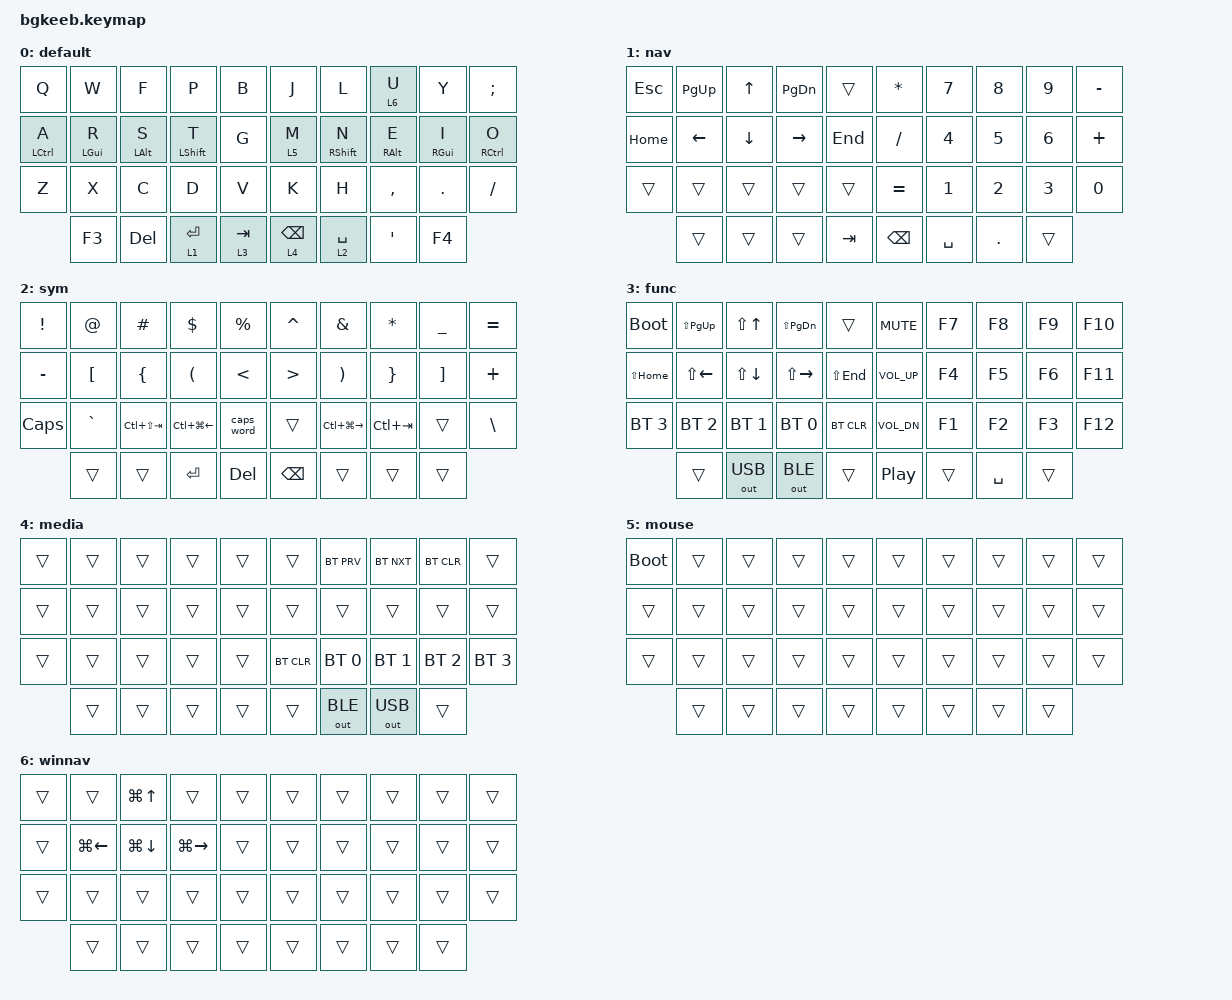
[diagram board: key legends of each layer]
// used swweeep default keymap

#include <behaviors.dtsi>
#include <dt-bindings/zmk/bt.h>
#include <dt-bindings/zmk/keys.h>
#include <dt-bindings/zmk/outputs.h>

/ {
    keymap {
        compatible = "zmk,keymap";

        default {
            bindings = <
&kp Q          &kp W         &kp F         &kp P           &kp B        &kp J         &kp L           &lt 6 U       &kp Y         &kp SEMI
&mt LCTRL A    &mt LGUI R    &mt LALT S    &mt LSHIFT T    &kp G        &lt 5 M       &mt RSHIFT N    &mt RALT E    &mt RGUI I    &mt RCTRL O
&kp Z          &kp X         &kp C         &kp D           &kp V        &kp K         &kp H           &kp COMMA     &kp DOT       &kp FSLH
               &kp F3        &kp DEL       &lt 1 RET       &lt 3 TAB    &lt 4 BSPC    &lt 2 SPACE     &kp SQT       &kp F4
            >;
        };

        nav {
            bindings = <
&kp ESC     &kp PG_UP    &kp UP      &kp PG_DN    &trans     &kp ASTRK    &kp N7       &kp N8     &kp N9    &kp MINUS
&kp HOME    &kp LEFT     &kp DOWN    &kp RIGHT    &kp END    &kp FSLH     &kp N4       &kp N5     &kp N6    &kp PLUS
&trans      &trans       &trans      &trans       &trans     &kp EQUAL    &kp N1       &kp N2     &kp N3    &kp N0
            &trans       &trans      &trans       &kp TAB    &kp BSPC     &kp SPACE    &kp DOT    &trans
            >;
        };

        sym {
            bindings = <
&kp EXCL     &kp AT       &kp HASH           &kp DLLR            &kp PRCNT     &kp CARET    &kp AMPS             &kp ASTRK      &kp UNDER    &kp EQUAL
&kp MINUS    &kp LBKT     &kp LBRC           &kp LPAR            &kp LT        &kp GT       &kp RPAR             &kp RBRC       &kp RBKT     &kp PLUS
&kp CAPS     &kp GRAVE    &kp LC(LS(TAB))    &kp LC(LG(LEFT))    &caps_word    &trans       &kp LC(LG(RIGHT))    &kp LC(TAB)    &trans       &kp BSLH
             &trans       &trans             &kp RET             &kp DEL       &kp BSPC     &trans               &trans         &trans
            >;
        };

        func {
            bindings = <
&bootloader     &kp LS(PG_UP)    &kp LS(UP)      &kp LS(PG_DN)    &trans         &kp C_MUTE          &kp F7    &kp F8       &kp F9    &kp F10
&kp LS(HOME)    &kp LS(LEFT)     &kp LS(DOWN)    &kp LS(RIGHT)    &kp LS(END)    &kp K_VOL_UP        &kp F4    &kp F5       &kp F6    &kp F11
&bt BT_SEL 3    &bt BT_SEL 2     &bt BT_SEL 1    &bt BT_SEL 0     &bt BT_CLR     &kp K_VOL_DN        &kp F1    &kp F2       &kp F3    &kp F12
                &trans           &out OUT_USB    &out OUT_BLE     &trans         &kp C_PLAY_PAUSE    &trans    &kp SPACE    &trans
            >;
        };

        media {
            bindings = <
&trans    &trans    &trans    &trans    &trans    &trans        &bt BT_PRV      &bt BT_NXT      &bt BT_CLR      &trans
&trans    &trans    &trans    &trans    &trans    &trans        &trans          &trans          &trans          &trans
&trans    &trans    &trans    &trans    &trans    &bt BT_CLR    &bt BT_SEL 0    &bt BT_SEL 1    &bt BT_SEL 2    &bt BT_SEL 3
          &trans    &trans    &trans    &trans    &trans        &out OUT_BLE    &out OUT_USB    &trans
            >;
        };

        mouse {
            bindings = <
&bootloader    &trans    &trans    &trans    &trans    &trans    &trans    &trans    &trans    &trans
&trans         &trans    &trans    &trans    &trans    &trans    &trans    &trans    &trans    &trans
&trans         &trans    &trans    &trans    &trans    &trans    &trans    &trans    &trans    &trans
               &trans    &trans    &trans    &trans    &trans    &trans    &trans    &trans
            >;
        };

        winnav {
            bindings = <
&trans    &trans          &kp LG(UP)      &trans           &trans    &trans    &trans    &trans    &trans    &trans
&trans    &kp LG(LEFT)    &kp LG(DOWN)    &kp LG(RIGHT)    &trans    &trans    &trans    &trans    &trans    &trans
&trans    &trans          &trans          &trans           &trans    &trans    &trans    &trans    &trans    &trans
          &trans          &trans          &trans           &trans    &trans    &trans    &trans    &trans
            >;
        };
    };
};
